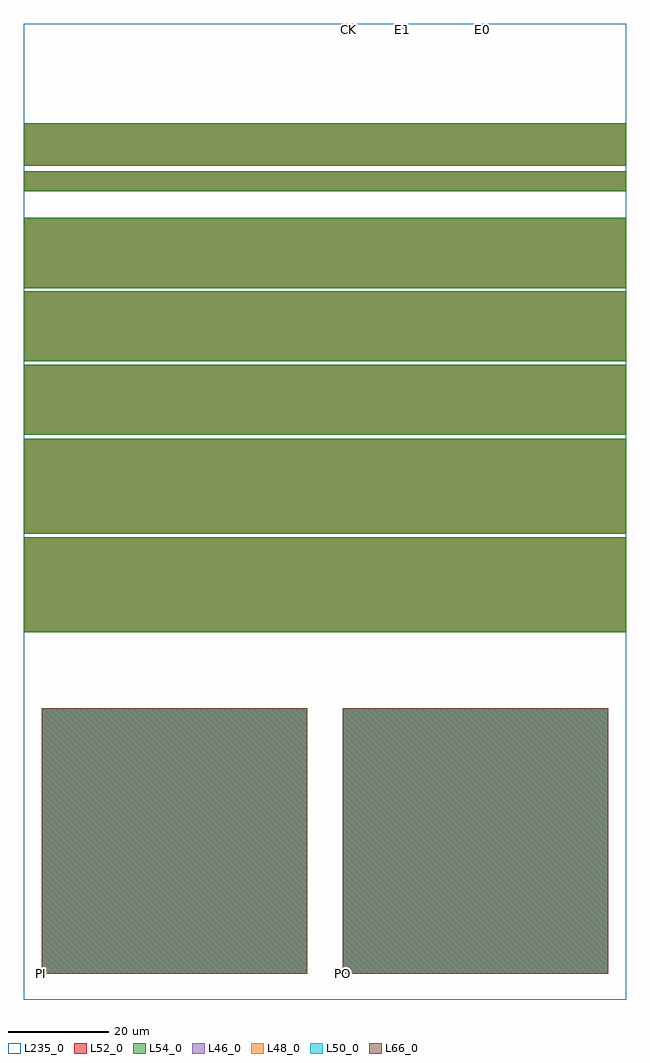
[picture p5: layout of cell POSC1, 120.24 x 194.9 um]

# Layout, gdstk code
import gdstk
lib = gdstk.Library(unit=1e-6, precision=1e-09)
def R(c, l, rs):  # rectangles x0, y0, x1, y1
    for r in rs: c.add(gdstk.rectangle(r[:2], r[2:], *l))
L46_0 = (46, 0)
L48_0 = (48, 0)
L50_0 = (50, 0)
L52_0 = (52, 0)
L54_0 = (54, 0)
L66_0 = (66, 0)
L235_0 = (235, 0)

posc1 = lib.new_cell('POSC1')
R(posc1, L46_0, [(3.56,5.18,56.56,58.18), (63.68,5.18,116.68,58.18), (64.89,193.8,65.99,194.9), (75.52,193.8,76.62,194.9), (91.62,193.8,92.72,194.9)])
R(posc1, L48_0, [(3.56,5.18,56.56,58.18), (63.68,5.18,116.68,58.18), (64.89,193.8,65.99,194.9), (91.62,193.8,92.72,194.9)])
R(posc1, L50_0, [(3.56,5.18,56.56,58.18), (63.68,5.18,116.68,58.18), (64.89,193.8,65.99,194.9), (91.62,193.8,92.72,194.9)])
R(posc1, L52_0, [(3.56,5.18,56.56,58.18), (63.68,5.18,116.68,58.18), (0,73.3,120.24,92.3), (0,92.99,120.24,111.99), (0,112.79,120.24,126.79), (0,127.44,120.24,141.44), (0,142.08,120.24,156.08), (0,161.39,120.24,165.39), (0,166.47,120.24,174.97)])
R(posc1, L54_0, [(3.56,5.18,56.56,58.18), (63.68,5.18,116.68,58.18), (0,73.3,120.24,92.3), (0,92.99,120.24,111.99), (0,112.79,120.24,126.79), (0,127.44,120.24,141.44), (0,142.08,120.24,156.08), (0,161.39,120.24,165.39), (0,166.47,120.24,174.97)])
R(posc1, L66_0, [(3.56,5.18,56.56,58.18), (63.68,5.18,116.68,58.18)])
R(posc1, L235_0, [(0,0,120.24,194.9)])
posc1.add(gdstk.Label('PI', (3.56,5.18), layer=104, texttype=0))
posc1.add(gdstk.Label('PO', (63.68,5.18), layer=104, texttype=0))
posc1.add(gdstk.Label('PI', (3.56,5.18), layer=105, texttype=0))
posc1.add(gdstk.Label('PO', (63.68,5.18), layer=105, texttype=0))
posc1.add(gdstk.Label('PI', (3.56,5.18), layer=102, texttype=0))
posc1.add(gdstk.Label('PO', (63.68,5.18), layer=102, texttype=0))
posc1.add(gdstk.Label('E0', (91.62,193.8), layer=102, texttype=0))
posc1.add(gdstk.Label('CK', (64.89,193.8), layer=102, texttype=0))
posc1.add(gdstk.Label('PI', (3.56,5.18), layer=103, texttype=0))
posc1.add(gdstk.Label('PO', (63.68,5.18), layer=103, texttype=0))
posc1.add(gdstk.Label('E0', (91.62,193.8), layer=103, texttype=0))
posc1.add(gdstk.Label('CK', (64.89,193.8), layer=103, texttype=0))
posc1.add(gdstk.Label('PI', (3.56,5.18), layer=101, texttype=0))
posc1.add(gdstk.Label('PO', (63.68,5.18), layer=101, texttype=0))
posc1.add(gdstk.Label('E1', (75.52,193.8), layer=101, texttype=0))
posc1.add(gdstk.Label('E0', (91.62,193.8), layer=101, texttype=0))
posc1.add(gdstk.Label('CK', (64.89,193.8), layer=101, texttype=0))

lib.write_gds('POSC1.gds')
